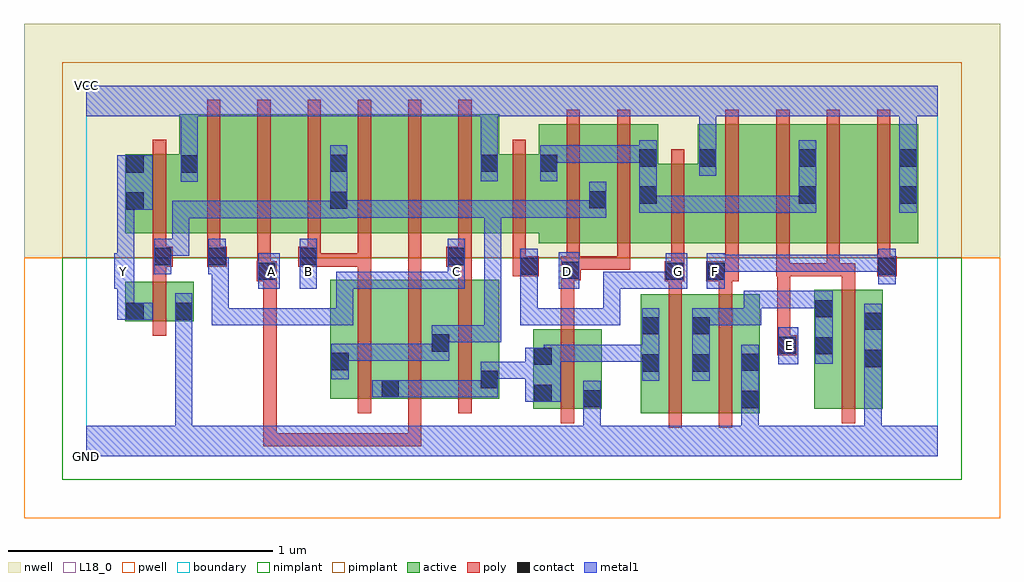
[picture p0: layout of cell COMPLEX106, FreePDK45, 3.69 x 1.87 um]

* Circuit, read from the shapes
.subckt COMPLEX106 A B C D E F G GND VCC Y
M1 GND n1 Y VSUBS nfet w=0.15u l=0.05u
M2 n2 B n1 VSUBS nfet w=0.45u l=0.05u
M3 n1 A n2 VSUBS nfet w=0.45u l=0.05u
M4 n2 C n1 VSUBS nfet w=0.45u l=0.05u
M5 GND D n2 VSUBS nfet w=0.3u l=0.05u
M6 n3 G n2 VSUBS nfet w=0.45u l=0.05u
M7 GND F n3 VSUBS nfet w=0.45u l=0.05u
M8 GND E n3 VSUBS nfet w=0.45u l=0.05u
M9 VCC n1 Y n4 pfet w=0.3u l=0.05u
M10 n5 C VCC n4 pfet w=0.45u l=0.05u
M11 n6 A n5 n4 pfet w=0.45u l=0.05u
M12 n1 B n6 n4 pfet w=0.45u l=0.05u
M13 n7 B n1 n4 pfet w=0.45u l=0.05u
M14 n8 A n7 n4 pfet w=0.45u l=0.05u
M15 VCC C n8 n4 pfet w=0.45u l=0.05u
M16 n9 G VCC n4 pfet w=0.3u l=0.05u m=2
M17 n1 D n9 n4 pfet w=0.45u l=0.05u m=2
M18 n10 F VCC n4 pfet w=0.45u l=0.05u
M19 n9 E n10 n4 pfet w=0.45u l=0.05u
M20 n11 E n9 n4 pfet w=0.45u l=0.05u
M21 VCC F n11 n4 pfet w=0.45u l=0.05u
.ends

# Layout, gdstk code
import gdstk
lib = gdstk.Library(unit=1e-6, precision=1e-09)
def R(c, l, rs):  # rectangles x0, y0, x1, y1
    for r in rs: c.add(gdstk.rectangle(r[:2], r[2:], *l))
def A(c, l, x, y, w, h, nx, ny, dx, dy):  # array of equal rectangles
    R(c, l, [(x+i*dx, y+j*dy, x+i*dx+w, y+j*dy+h) for i in range(nx) for j in range(ny)])
active = (1, 0)
pwell = (2, 0)
nwell = (3, 0)
nimplant = (4, 0)
pimplant = (5, 0)
poly = (9, 0)
contact = (10, 0)
metal1 = (11, 0)
L18_0 = (18, 0)
boundary = (235, 0)

complex106 = lib.new_cell('COMPLEX106')
R(complex106, active, [(2.097,0.162,2.362,0.612), (2.287,0.162,2.547,0.612), (2.472,0.162,2.547,0.612), (1.69,0.18,1.95,0.48), (1.875,0.18,1.95,0.392), (2.752,0.18,3.012,0.63), (2.937,0.18,3.012,0.63), (1.69,0.2,1.765,0.48), (2.097,0.2,2.172,0.612), (2.287,0.2,2.362,0.542), (2.752,0.2,2.827,0.63), (0.922,0.217,0.997,0.667), (0.922,0.217,1.187,0.667), (1.112,0.217,1.377,0.667), (1.112,0.217,1.187,0.587), (1.302,0.217,1.562,0.667), (1.487,0.217,1.562,0.667), (1.302,0.245,1.377,0.542), (0.147,0.51,0.222,0.66), (0.147,0.51,0.407,0.66), (0.332,0.51,0.407,0.66), (1.712,0.805,1.972,1.255), (1.897,0.805,2.162,1.255), (1.897,0.805,1.972,1.07), (2.087,0.805,2.387,1.105), (2.087,0.805,2.162,1.2), (2.312,0.805,2.537,1.255), (2.537,0.805,2.765,1.255), (2.69,0.805,2.92,1.255), (2.92,0.805,3.145,1.255), (3.07,0.805,3.145,1.255), (0.147,0.842,0.427,1.142), (0.147,0.842,0.222,1.142), (0.352,0.842,0.577,1.292), (0.577,0.842,0.767,1.292), (0.767,0.842,0.992,1.292), (0.917,0.842,1.147,1.292), (0.917,0.842,0.992,1.2), (1.147,0.842,1.337,1.292), (1.337,0.842,1.562,1.292), (1.487,0.842,1.787,1.142), (2.312,0.852,2.387,1.165), (2.69,0.857,2.765,1.2), (0.352,1.007,0.427,1.142), (1.487,1.007,1.562,1.145), (1.712,1.007,1.787,1.2)])
R(complex106, pwell, [(-0.235,-0.235,3.455,0.75)])
R(complex106, nwell, [(-0.235,0.75,3.455,1.635)])
R(complex106, nimplant, [(-0.09,-0.09,3.31,0.75)])
R(complex106, pimplant, [(-0.09,0.75,3.31,1.49)])
A(complex106, poly, 1.027, 0.162, 0.05, 0.56, 3, 1, 0.19, 0)
A(complex106, poly, 0.457, 0.742, 0.05, 0.095, 3, 1, 0.38, 0)
A(complex106, poly, 2.61, 0.75, 0.05, 0.56, 3, 1, 0.19, 0)
A(complex106, poly, 0.457, 0.787, 0.05, 0.56, 6, 1, 0.19, 0)
R(complex106, poly, [(0.67,0.037,0.72,0.087), (0.67,0.037,0.72,0.087), (0.67,0.037,0.72,0.087), (0.67,0.037,0.72,0.087), (0.67,0.037,0.72,0.087), (0.67,0.037,0.852,0.087), (0.67,0.037,0.72,0.712), (0.802,0.037,0.852,0.087), (0.802,0.037,0.852,0.087), (0.802,0.037,0.852,0.087), (0.802,0.037,0.852,0.087), (0.802,0.037,0.852,0.087), (0.802,0.037,1.135,0.087), (1.085,0.037,1.135,0.087), (1.085,0.037,1.267,0.087), (1.217,0.037,1.267,0.087), (1.217,0.037,1.267,0.087), (1.217,0.037,1.267,0.087), (1.217,0.037,1.267,0.212), (2.202,0.107,2.252,0.667), (2.392,0.107,2.442,0.667), (1.795,0.125,1.845,0.535), (2.857,0.125,2.907,0.685), (2.612,0.382,2.687,0.457), (2.612,0.407,2.662,0.457), (2.612,0.407,2.662,0.457), (2.612,0.407,2.662,0.73), (0.252,0.455,0.302,0.715), (1.795,0.485,1.845,0.715), (2.202,0.617,2.252,0.712), (2.392,0.617,2.442,0.712), (2.857,0.635,2.907,0.73), (0.645,0.662,0.72,0.737), (0.67,0.662,0.72,0.712), (0.67,0.662,0.72,0.712), (0.67,0.662,0.72,0.712), (0.67,0.662,0.72,0.712), (2.187,0.662,2.262,0.737), (2.345,0.662,2.467,0.737), (0.252,0.665,0.302,0.767), (1.795,0.665,1.87,0.755), (1.027,0.672,1.077,0.767), (1.217,0.672,1.267,0.792), (1.407,0.672,1.457,0.767), (1.612,0.68,1.712,0.755), (2.61,0.68,2.66,0.8), (2.61,0.68,2.662,0.73), (2.612,0.68,2.85,0.73), (2.612,0.68,2.662,0.73), (2.612,0.68,2.662,0.73), (2.8,0.68,2.85,0.8), (2.8,0.68,2.907,0.73), (2.99,0.68,3.065,0.755), (0.647,0.687,0.697,0.837), (2.212,0.687,2.262,0.8), (2.417,0.687,2.467,0.8), (1.612,0.705,1.662,0.837), (1.817,0.705,1.867,0.8), (1.82,0.705,2.057,0.755), (2.007,0.705,2.057,0.8), (2.007,0.705,2.057,0.755), (2.007,0.705,2.057,0.755), (2.007,0.705,2.057,0.755), (2.99,0.705,3.04,0.8), (0.252,0.717,0.327,0.792), (0.457,0.717,0.532,0.792), (0.802,0.717,0.887,0.792), (0.837,0.717,1.077,0.767), (1.027,0.717,1.077,0.837), (1.027,0.717,1.077,0.767), (1.027,0.717,1.077,0.767), (1.027,0.717,1.077,0.767), (1.362,0.717,1.457,0.792), (0.252,0.742,0.302,0.837), (1.217,0.742,1.267,0.792), (1.407,0.742,1.457,0.837), (1.817,0.75,1.867,1.31), (2.007,0.75,2.057,1.31), (2.212,0.75,2.262,1.16), (2.417,0.75,2.467,1.31), (0.252,0.787,0.302,1.197), (1.612,0.787,1.662,1.197)])
R(complex106, contact, [(2.477,0.182,2.542,0.247), (1.88,0.185,1.945,0.25), (1.695,0.205,1.76,0.27), (1.117,0.222,1.182,0.287), (1.492,0.257,1.557,0.322), (2.102,0.32,2.167,0.385), (2.292,0.32,2.357,0.385), (2.477,0.322,2.542,0.387), (0.927,0.325,0.992,0.39), (2.942,0.337,3.007,0.402), (1.695,0.345,1.76,0.41), (2.757,0.385,2.822,0.45), (2.617,0.387,2.682,0.452), (1.307,0.395,1.372,0.46), (2.102,0.46,2.167,0.525), (2.292,0.46,2.357,0.525), (2.942,0.477,3.007,0.542), (0.152,0.515,0.217,0.58), (0.337,0.515,0.402,0.58), (2.757,0.525,2.822,0.59), (0.65,0.667,0.715,0.732), (2.192,0.667,2.257,0.732), (2.35,0.667,2.415,0.732), (1.8,0.67,1.865,0.735), (1.642,0.685,1.707,0.75), (2.995,0.685,3.06,0.75), (0.257,0.722,0.322,0.787), (0.462,0.722,0.527,0.787), (0.807,0.722,0.872,0.787), (1.367,0.722,1.432,0.787), (0.152,0.932,0.217,0.997), (0.922,0.935,0.987,1), (1.902,0.937,1.967,1.002), (2.092,0.955,2.157,1.02), (2.695,0.955,2.76,1.02), (3.075,0.955,3.14,1.02), (0.152,1.072,0.217,1.137), (0.357,1.072,0.422,1.137), (0.922,1.075,0.987,1.14), (1.492,1.075,1.557,1.14), (1.717,1.075,1.782,1.14), (2.092,1.095,2.157,1.16), (2.317,1.095,2.382,1.16), (2.695,1.095,2.76,1.16), (3.075,1.095,3.14,1.16)])
R(complex106, metal1, [(0,0,3.22,0.115), (0.337,0.05,0.402,0.115), (0.337,0.05,0.402,0.115), (0.337,0.05,0.402,0.115), (0.337,0.05,0.402,0.115), (0.337,0.05,0.402,0.115), (0.337,0.05,0.402,0.115), (0.337,0.05,0.402,0.545), (1.88,0.05,1.945,0.115), (1.88,0.05,1.945,0.115), (1.88,0.05,1.945,0.115), (1.88,0.05,1.945,0.115), (1.88,0.05,1.945,0.215), (2.477,0.05,2.542,0.115), (2.477,0.05,2.542,0.115), (2.477,0.05,2.542,0.212), (2.942,0.05,3.007,0.367), (2.477,0.147,2.542,0.422), (1.88,0.15,1.945,0.285), (1.66,0.205,1.795,0.41), (1.082,0.222,1.217,0.287), (1.152,0.222,1.285,0.287), (1.22,0.222,1.285,0.287), (1.22,0.222,1.42,0.287), (1.355,0.222,1.42,0.287), (1.355,0.222,1.557,0.287), (1.492,0.222,1.557,0.357), (1.492,0.222,1.557,0.287), (1.492,0.222,1.557,0.287), (2.102,0.285,2.167,0.56), (2.292,0.285,2.357,0.56), (0.927,0.29,0.992,0.425), (1.492,0.292,1.715,0.357), (1.65,0.292,1.715,0.357), (1.65,0.292,1.725,0.357), (2.942,0.302,3.007,0.577), (2.942,0.302,3.007,0.367), (2.942,0.302,3.007,0.367), (1.73,0.345,1.795,0.422), (2.617,0.347,2.692,0.487), (2.757,0.35,2.822,0.625), (1.73,0.357,1.795,0.422), (1.73,0.357,1.86,0.422), (1.795,0.357,1.86,0.422), (1.795,0.357,2.02,0.422), (1.955,0.357,2.02,0.422), (1.955,0.357,2.02,0.422), (1.955,0.357,2.02,0.422), (1.955,0.357,2.167,0.422), (0.927,0.36,1.147,0.425), (1.082,0.36,1.285,0.425), (1.082,0.36,1.147,0.425), (1.082,0.36,1.147,0.425), (1.082,0.36,1.147,0.425), (1.082,0.36,1.147,0.425), (1.082,0.36,1.147,0.425), (1.22,0.36,1.285,0.425), (1.22,0.36,1.372,0.425), (1.307,0.36,1.372,0.495), (1.307,0.43,1.57,0.495), (1.505,0.43,1.57,0.495), (1.505,0.43,1.57,0.495), (1.505,0.43,1.57,0.495), (1.505,0.43,1.57,0.967), (0.337,0.48,0.402,0.615), (0.475,0.495,0.54,0.56), (0.475,0.495,0.677,0.56), (0.475,0.495,0.54,0.752), (0.612,0.495,0.677,0.56), (0.612,0.495,0.677,0.56), (0.612,0.495,0.677,0.56), (0.612,0.495,0.89,0.56), (0.825,0.495,0.89,0.56), (0.825,0.495,1.01,0.56), (0.945,0.495,1.01,0.56), (0.945,0.495,1.01,0.697), (1.642,0.495,1.707,0.715), (1.642,0.495,1.707,0.56), (1.642,0.495,1.882,0.56), (1.817,0.495,2.02,0.56), (1.817,0.495,1.882,0.56), (1.955,0.495,2.02,0.56), (1.955,0.495,2.02,0.697), (2.292,0.495,2.357,0.56), (2.292,0.495,2.357,0.56), (2.292,0.495,2.552,0.56), (2.487,0.495,2.552,0.625), (0.117,0.515,0.252,0.58), (0.117,0.515,0.182,0.697), (2.487,0.56,2.552,0.625), (2.487,0.56,2.552,0.625), (2.487,0.56,2.822,0.625), (0.107,0.632,0.182,0.767), (0.65,0.632,0.732,0.767), (0.807,0.632,0.872,0.822), (0.945,0.632,1.01,0.697), (0.945,0.632,1.147,0.697), (1.082,0.632,1.285,0.697), (1.082,0.632,1.147,0.697), (1.082,0.632,1.147,0.697), (1.082,0.632,1.147,0.697), (1.22,0.632,1.285,0.697), (1.22,0.632,1.412,0.697), (1.347,0.632,1.412,0.697), (1.347,0.632,1.432,0.697), (1.367,0.632,1.432,0.822), (1.787,0.632,1.865,0.77), (1.955,0.632,2.02,0.697), (1.955,0.632,2.02,0.697), (1.955,0.632,2.02,0.697), (1.955,0.632,2.157,0.697), (2.092,0.632,2.157,0.697), (2.092,0.632,2.257,0.697), (2.192,0.632,2.272,0.767), (2.347,0.632,2.415,0.767), (1.642,0.65,1.707,0.785), (1.642,0.65,1.707,0.715), (1.642,0.65,1.707,0.715), (2.995,0.65,3.06,0.785), (0.257,0.687,0.322,0.822), (0.462,0.687,0.527,0.822), (0.462,0.687,0.54,0.752), (0.475,0.687,0.54,0.752), (2.35,0.697,2.495,0.762), (2.43,0.697,2.495,0.762), (2.43,0.697,2.69,0.762), (2.625,0.697,2.69,0.762), (2.625,0.697,2.69,0.762), (2.625,0.697,2.69,0.762), (2.625,0.697,2.922,0.762), (2.857,0.697,3.06,0.762), (2.857,0.697,2.922,0.762), (2.857,0.697,2.922,0.762), (2.857,0.697,2.922,0.762), (0.117,0.702,0.182,0.997), (0.257,0.757,0.39,0.822), (0.325,0.757,0.39,0.822), (0.325,0.757,0.39,0.965), (0.325,0.9,0.39,0.965), (0.325,0.9,0.53,0.965), (0.465,0.9,0.53,0.965), (0.465,0.9,0.53,0.965), (0.465,0.9,0.53,0.965), (0.465,0.9,0.677,0.965), (0.612,0.9,0.677,0.965), (0.612,0.9,0.677,0.965), (0.612,0.9,0.677,0.965), (0.612,0.9,0.987,0.965), (0.922,0.9,0.987,1.175), (0.922,0.9,0.987,0.965), (0.922,0.9,0.987,0.965), (0.922,0.902,1.147,0.967), (1.082,0.902,1.285,0.967), (1.082,0.902,1.147,0.967), (1.082,0.902,1.147,0.967), (1.082,0.902,1.147,0.967), (1.22,0.902,1.285,0.967), (1.22,0.902,1.412,0.967), (1.347,0.902,1.412,0.967), (1.347,0.902,1.57,0.967), (1.505,0.902,1.57,0.967), (1.505,0.902,1.57,0.967), (1.505,0.902,1.57,0.967), (1.505,0.902,1.57,0.967), (1.505,0.902,1.57,0.967), (1.505,0.902,1.715,0.967), (1.65,0.902,1.715,0.967), (1.65,0.902,1.715,0.967), (1.65,0.902,1.715,0.967), (1.65,0.902,1.882,0.967), (1.817,0.902,1.882,0.967), (1.817,0.902,1.967,0.967), (1.902,0.902,1.967,1.037), (2.092,0.92,2.157,1.195), (2.092,0.92,2.157,0.985), (2.092,0.92,2.157,0.985), (2.092,0.92,2.157,0.985), (2.092,0.92,2.157,0.985), (2.092,0.92,2.357,0.985), (2.292,0.92,2.357,0.985), (2.292,0.92,2.357,0.985), (2.292,0.92,2.357,0.985), (2.292,0.92,2.542,0.985), (2.477,0.92,2.542,0.985), (2.477,0.92,2.76,0.985), (2.695,0.92,2.76,1.195), (2.695,0.92,2.76,0.985), (2.695,0.92,2.76,0.985), (3.075,0.92,3.14,1.195), (0.117,0.932,0.252,1.137), (0.357,1.037,0.422,1.172), (1.492,1.04,1.557,1.175), (1.717,1.04,1.782,1.175), (2.317,1.06,2.382,1.195), (0.357,1.107,0.422,1.35), (1.492,1.11,1.557,1.35), (1.717,1.11,1.882,1.175), (1.817,1.11,2.02,1.175), (1.817,1.11,1.882,1.175), (1.955,1.11,2.02,1.175), (1.955,1.11,2.02,1.175), (1.955,1.11,2.02,1.175), (1.955,1.11,2.157,1.175), (2.317,1.13,2.382,1.35), (3.075,1.13,3.14,1.35), (0,1.285,3.22,1.4)])
A(complex106, L18_0, 1.367, 0.667, 0.065, 0.065, 3, 1, 0.42, 0)
R(complex106, L18_0, [(0,0,3.22,0.115), (0.337,0.05,0.402,0.115), (0.337,0.05,0.402,0.115), (0.337,0.05,0.402,0.115), (0.337,0.05,0.402,0.115), (0.337,0.05,0.402,0.115), (0.337,0.05,0.402,0.115), (0.337,0.05,0.402,0.545), (1.88,0.05,1.945,0.115), (1.88,0.05,1.945,0.115), (1.88,0.05,1.945,0.115), (1.88,0.05,1.945,0.115), (1.88,0.05,1.945,0.215), (2.477,0.05,2.542,0.115), (2.477,0.05,2.542,0.115), (2.477,0.05,2.542,0.212), (2.942,0.05,3.007,0.367), (2.477,0.147,2.542,0.422), (1.88,0.15,1.945,0.285), (2.942,0.302,3.007,0.367), (2.942,0.302,3.007,0.367), (2.942,0.302,3.007,0.577), (2.617,0.347,2.692,0.487), (2.627,0.387,2.692,0.452), (0.337,0.48,0.402,0.615), (0.475,0.495,0.54,0.56), (0.475,0.495,0.54,0.752), (0.475,0.495,0.677,0.56), (0.612,0.495,0.677,0.56), (0.612,0.495,0.677,0.56), (0.612,0.495,0.677,0.56), (0.612,0.495,0.89,0.56), (0.825,0.495,0.89,0.56), (0.825,0.495,1.01,0.56), (0.945,0.495,1.01,0.56), (0.945,0.495,1.01,0.697), (1.642,0.495,1.707,0.56), (1.642,0.495,1.707,0.715), (1.642,0.495,1.882,0.56), (1.817,0.495,1.882,0.56), (1.817,0.495,2.02,0.56), (1.955,0.495,2.02,0.56), (1.955,0.495,2.02,0.697), (0.117,0.515,0.252,0.58), (0.117,0.515,0.182,0.697), (0.107,0.632,0.182,0.767), (0.65,0.632,0.732,0.767), (0.807,0.632,0.872,0.822), (0.945,0.632,1.01,0.697), (0.945,0.632,1.147,0.697), (1.082,0.632,1.147,0.697), (1.082,0.632,1.147,0.697), (1.082,0.632,1.147,0.697), (1.082,0.632,1.285,0.697), (1.22,0.632,1.285,0.697), (1.22,0.632,1.412,0.697), (1.347,0.632,1.412,0.697), (1.347,0.632,1.432,0.697), (1.367,0.632,1.432,0.822), (1.787,0.632,1.865,0.77), (1.955,0.632,2.02,0.697), (1.955,0.632,2.02,0.697), (1.955,0.632,2.02,0.697), (1.955,0.632,2.157,0.697), (2.092,0.632,2.157,0.697), (2.092,0.632,2.257,0.697), (2.192,0.632,2.272,0.767), (2.347,0.632,2.415,0.767), (1.642,0.65,1.707,0.715), (1.642,0.65,1.707,0.715), (1.642,0.65,1.707,0.785), (2.995,0.65,3.06,0.785), (0.107,0.667,0.172,0.732), (0.667,0.667,0.732,0.732), (0.807,0.667,0.872,0.732), (2.347,0.667,2.412,0.732), (0.462,0.687,0.527,0.822), (0.462,0.687,0.54,0.752), (0.475,0.687,0.54,0.752), (2.35,0.697,2.495,0.762), (2.43,0.697,2.495,0.762), (2.43,0.697,2.69,0.762), (2.625,0.697,2.69,0.762), (2.625,0.697,2.69,0.762), (2.625,0.697,2.69,0.762), (2.625,0.697,2.922,0.762), (2.857,0.697,2.922,0.762), (2.857,0.697,2.922,0.762), (2.857,0.697,2.922,0.762), (2.857,0.697,3.06,0.762), (0.117,0.702,0.182,0.997), (3.075,0.92,3.14,1.195), (0.117,0.932,0.252,1.137), (0.357,1.037,0.422,1.172), (1.492,1.04,1.557,1.175), (2.317,1.06,2.382,1.195), (0.357,1.107,0.422,1.35), (1.492,1.11,1.557,1.35), (2.317,1.13,2.382,1.35), (3.075,1.13,3.14,1.35), (0,1.285,3.22,1.4)])
R(complex106, boundary, [(0,0,3.22,1.4)])
complex106.add(gdstk.Label('A', (0.7,0.7), layer=11, texttype=0))
complex106.add(gdstk.Label('B', (0.84,0.7), layer=11, texttype=0))
complex106.add(gdstk.Label('C', (1.4,0.7), layer=11, texttype=0))
complex106.add(gdstk.Label('D', (1.82,0.7), layer=11, texttype=0))
complex106.add(gdstk.Label('E', (2.66,0.42), layer=11, texttype=0))
complex106.add(gdstk.Label('F', (2.38,0.7), layer=11, texttype=0))
complex106.add(gdstk.Label('G', (2.24,0.7), layer=11, texttype=0))
complex106.add(gdstk.Label('Y', (0.14,0.7), layer=11, texttype=0))
complex106.add(gdstk.Label('VCC', (0,1.4), layer=11, texttype=0))
complex106.add(gdstk.Label('GND', (0,0), layer=11, texttype=0))

lib.write_gds('COMPLEX106.gds')
